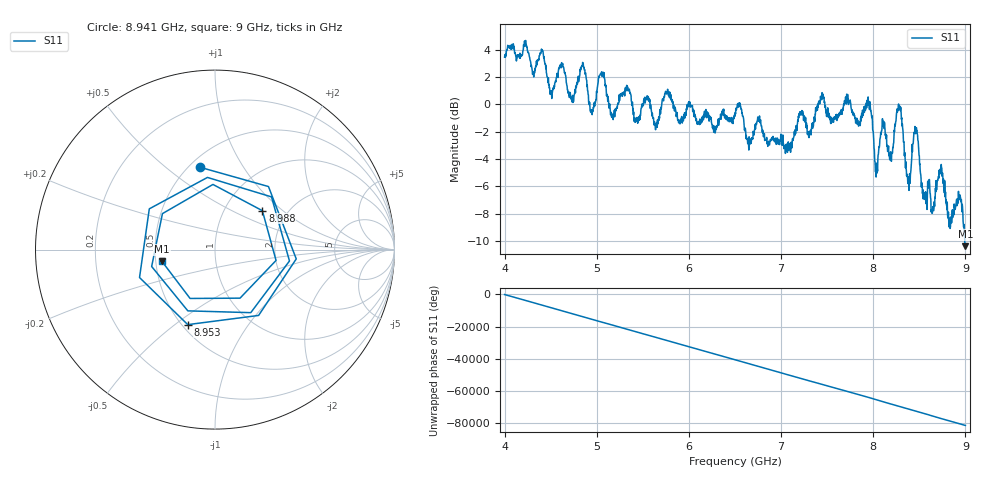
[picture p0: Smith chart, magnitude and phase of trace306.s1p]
! Created with skrf 1.8.0 (http://scikit-rf.org).
# Hz S RI R 50.0
!freq ReS11 ImS11
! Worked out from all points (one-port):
!   1601 points, 4 GHz to 9 GHz, reference 50 ohm
!   lowest |S11| = -10.4 dB at 9 GHz (marker M1), VSWR 1.87, Z = 27 - j3.94 ohm
!   |S11| at or under -10 dB: 8.993093 GHz to end of sweep
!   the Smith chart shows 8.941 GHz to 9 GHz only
!   S11 on the Smith chart (normalised r, x): 8.941 GHz: 0.57, +0.66; 8.953 GHz: 0.53, -0.56; 8.988 GHz: 1.50, +0.74; 9 GHz: 0.54, -0.08
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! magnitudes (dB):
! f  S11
! 4 GHz  3.4
! 4.403 GHz  3.9
! 4.509 GHz  0.8
! 4.625 GHz  2.9
! 4.728 GHz  0.3
! 4.856 GHz  2.7
! 4.944 GHz  -0.4
! 5.053 GHz  2.4
! 5.169 GHz  -0.9
! 5.25 GHz  0.5
! 5.875 GHz  -1.0
! 6.5 GHz  -0.9
! 7.125 GHz  -2.5
! 7.75 GHz  0.3
! 7.956 GHz  0.0
! 8.034 GHz  -4.3
! 8.103 GHz  -1.5
! 8.194 GHz  -3.6
! 8.278 GHz  -0.2
! 8.375 GHz  -5.8
! 8.462 GHz  -1.8
! 8.559 GHz  -6.5
! 8.728 GHz  -5.0
! 8.831 GHz  -9.0
! 8.941 GHz  -6.6
! 8.953 GHz  -7.0
! 8.988 GHz  -9.3
! 9 GHz  -10.4
